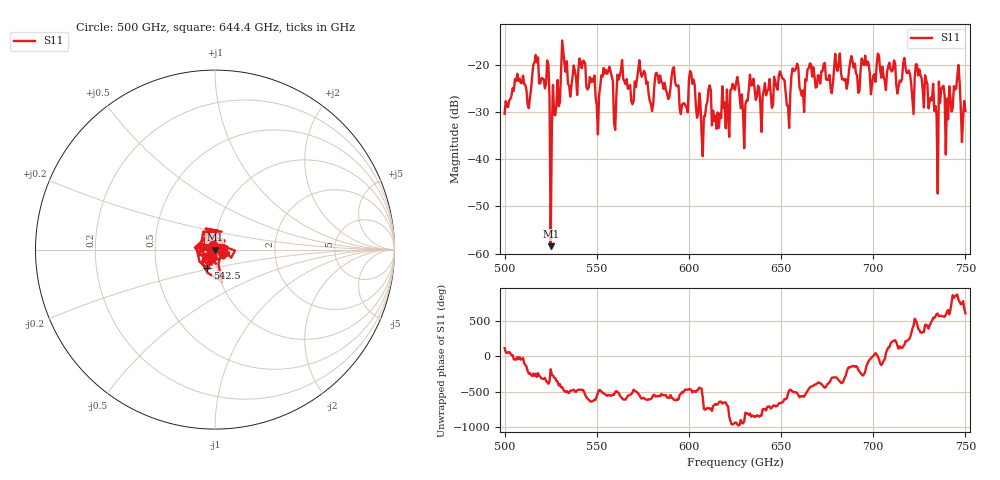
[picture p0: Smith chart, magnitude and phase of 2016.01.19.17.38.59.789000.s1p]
!Created with skrf (http://scikit-rf.org).
# GHz S RI R 50.0
!freq ReS11 ImS11
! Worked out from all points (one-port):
!   401 points, 500 GHz to 750 GHz, reference 50 ohm
!   lowest |S11| = -58.4 dB at 525 GHz (marker M1), VSWR 1.00, Z = 49.9 + j0.00394 ohm
!   |S11| at or under -10 dB: start of sweep to end of sweep
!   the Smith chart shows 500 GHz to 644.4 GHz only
!   S11 on the Smith chart (normalised r, x): 500 GHz: 0.97, +0.05; 542.5 GHz: 0.90, -0.19; 644.4 GHz: 1.10, -0.03
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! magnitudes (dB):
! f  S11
! 500 GHz  -30.4
! 506.9 GHz  -21.9
! 513.1 GHz  -29.2
! 516.9 GHz  -17.9
! 523.1 GHz  -19.1
! 525 GHz  -58.4
! 526.2 GHz  -24.3
! 531.2 GHz  -14.8
! 542.5 GHz  -19.1
! 550.6 GHz  -34.7
! 562.5 GHz  -22.3
! 593.8 GHz  -24.5
! 601.9 GHz  -24.0
! 608.1 GHz  -30.9
! 610.6 GHz  -25.1
! 615 GHz  -33.6
! 625 GHz  -25.3
! 629.4 GHz  -30.3
! 633.8 GHz  -24.4
! 644.4 GHz  -26.1
! 650 GHz  -22.1
! 653.8 GHz  -28.6
! 656.2 GHz  -20.7
! 687.5 GHz  -19.4
! 718.8 GHz  -21.7
! 733.8 GHz  -28.7
! 745.6 GHz  -22.3
! 750 GHz  -29.7
